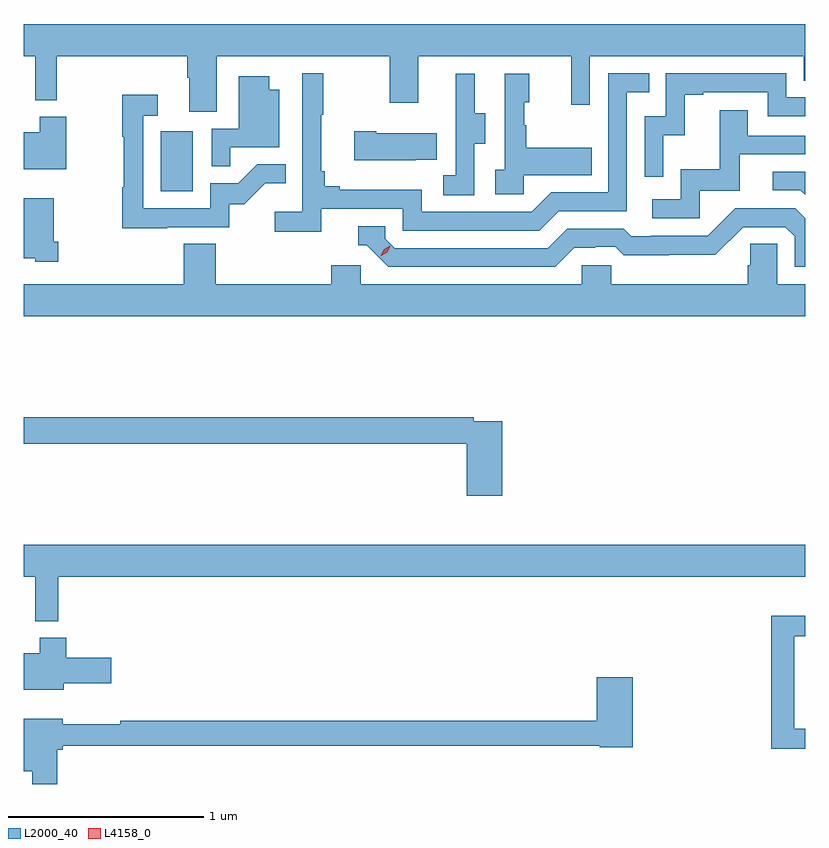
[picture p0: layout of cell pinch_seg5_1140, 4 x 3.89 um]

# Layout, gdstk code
import gdstk
lib = gdstk.Library(unit=1e-6, precision=1e-09)
def R(c, l, rs):  # rectangles x0, y0, x1, y1
    for r in rs: c.add(gdstk.rectangle(r[:2], r[2:], *l))
def P(c, l, *ps):  # polygons
    for p in ps: c.add(gdstk.Polygon(p, *l))
L2000_40 = (2000, 40)
L4158_0 = (4158, 0)

pinch_seg5_1140 = lib.new_cell('pinch_seg5_1140')
R(pinch_seg5_1140, L2000_40, [(838.646,840.084,838.81,840.391)])
P(pinch_seg5_1140, L2000_40, [(838.933,840.776),(839.818,840.776),(839.818,840.537),(839.965,840.537),(839.965,840.776),(840.746,840.776),(840.746,840.528),(840.843,840.528),(840.843,840.776),(841.938,840.776),(841.938,840.649),(841.945,840.649),(841.945,840.94),(837.945,840.94),(837.945,840.776),(838.004,840.776),(838.004,840.551),(838.114,840.551),(838.114,840.776),(838.781,840.776),(838.781,840.664),(838.793,840.664),(838.793,840.49),(838.933,840.49)],
  [(839.468,839.994),(839.886,839.994),(839.886,839.883),(840.583,839.883),(840.682,839.982),(841.032,839.982),(841.032,840.591),(841.145,840.591),(841.145,840.687),(840.936,840.687),(840.936,840.078),(840.645,840.078),(840.546,839.979),(839.982,839.979),(839.982,840.091),(839.563,840.091),(839.563,840.11),(839.486,840.11),(839.486,840.187),(839.467,840.187),(839.467,840.475),(839.479,840.475),(839.479,840.688),(839.37,840.688),(839.37,839.98),(839.229,839.98),(839.229,839.878),(839.468,839.878)],
  [(841.218,840.371),(841.328,840.371),(841.328,840.579),(841.423,840.579),(841.423,840.591),(841.752,840.591),(841.752,840.468),(841.945,840.468),(841.945,840.564),(841.848,840.564),(841.848,840.687),(841.23,840.687),(841.23,840.468),(841.122,840.468),(841.122,840.159),(841.218,840.159)],
  [(840.504,840.167),(840.851,840.167),(840.851,840.307),(840.517,840.307),(840.517,840.422),(840.507,840.422),(840.507,840.54),(840.532,840.54),(840.532,840.685),(840.408,840.685),(840.408,840.194),(840.357,840.194),(840.357,840.069),(840.504,840.069)],
  [(840.252,840.328),(840.307,840.328),(840.307,840.483),(840.253,840.483),(840.253,840.685),(840.155,840.685),(840.155,840.471),(840.156,840.471),(840.156,840.167),(840.093,840.167),(840.093,840.064),(840.252,840.064)],
  [(839.003,840.309),(839.254,840.309),(839.254,840.604),(839.203,840.604),(839.203,840.673),(839.045,840.673),(839.045,840.405),(838.908,840.405),(838.908,840.211),(839.003,840.211)],
  [(838.679,839.901),(838.998,839.901),(838.998,840.018),(839.074,840.018),(839.181,840.125),(839.285,840.125),(839.285,840.223),(839.141,840.223),(839.044,840.126),(838.899,840.126),(838.899,839.997),(838.557,839.997),(838.557,840.471),(838.63,840.471),(838.63,840.577),(838.449,840.577),(838.449,840.364),(838.456,840.364),(838.456,840.104),(838.449,840.104),(838.449,839.896),(838.679,839.896)],
  [(841.404,840.087),(841.609,840.087),(841.609,840.273),(841.945,840.273),(841.945,840.369),(841.651,840.369),(841.651,840.499),(841.507,840.499),(841.507,840.196),(841.308,840.196),(841.308,840.042),(841.161,840.042),(841.161,839.946),(841.404,839.946)],
  [(838.162,840.466),(838.028,840.466),(838.028,840.385),(837.945,840.385),(837.945,840.197),(838.162,840.197)],
  [(839.951,840.245),(840.059,840.245),(840.059,840.382),(839.749,840.382),(839.749,840.39),(839.637,840.39),(839.637,840.242),(839.951,840.242)],
  [(841.945,840.183),(841.779,840.183),(841.779,840.09),(841.92,840.09),(841.945,840.065)],
  [(838.121,839.827),(838.099,839.827),(838.099,840.049),(837.945,840.049),(837.945,839.741),(838.005,839.741),(838.005,839.723),(838.121,839.723)],
  [(840.763,839.796),(840.87,839.796),(840.87,839.799),(840.973,839.799),(841.015,839.757),(841.248,839.757),(841.248,839.759),(841.484,839.759),(841.626,839.901),(841.842,839.901),(841.89,839.853),(841.89,839.697),(841.945,839.697),(841.945,839.945),(841.893,839.997),(841.587,839.997),(841.446,839.856),(841.153,839.856),(841.153,839.853),(841.054,839.853),(841.015,839.892),(840.726,839.892),(840.627,839.793),(839.844,839.793),(839.796,839.841),(839.796,839.904),(839.657,839.904),(839.657,839.808),(839.7,839.808),(839.811,839.697),(840.664,839.697)],
  [(841.945,839.608),(841.8,839.608),(841.8,839.816),(841.663,839.816),(841.663,839.706),(841.649,839.706),(841.649,839.608),(840.951,839.608),(840.951,839.706),(840.801,839.706),(840.801,839.608),(839.67,839.608),(839.67,839.706),(839.519,839.706),(839.519,839.608),(838.928,839.608),(838.928,839.816),(838.763,839.816),(838.763,839.608),(837.945,839.608),(837.945,839.444),(841.945,839.444)],
  [(840.395,838.908),(840.248,838.908),(840.248,838.928),(837.945,838.928),(837.945,838.792),(840.212,838.792),(840.212,838.527),(840.395,838.527)],
  [(838.121,838.112),(841.945,838.112),(841.945,838.276),(837.945,838.276),(837.945,838.112),(838.004,838.112),(838.004,837.884),(838.121,837.884)],
  [(841.945,837.333),(841.887,837.333),(841.887,837.807),(841.945,837.807),(841.945,837.913),(841.771,837.913),(841.771,837.232),(841.945,837.232)],
  [(838.15,837.566),(838.393,837.566),(838.393,837.696),(838.163,837.696),(838.163,837.799),(838.028,837.799),(838.028,837.721),(837.945,837.721),(837.945,837.533),(838.15,837.533)],
  [(838.118,837.227),(838.144,837.227),(838.144,837.246),(840.894,837.246),(840.894,837.238),(841.061,837.238),(841.061,837.598),(840.878,837.598),(840.878,837.374),(838.44,837.374),(838.44,837.356),(838.144,837.356),(838.144,837.385),(837.945,837.385),(837.945,837.116),(837.99,837.116),(837.99,837.051),(838.118,837.051)])
P(pinch_seg5_1140, L4158_0, [(839.773,839.754),(839.773,839.755),(839.79,839.787),(839.821,839.806),(839.821,839.806),(839.821,839.806),(839.805,839.773),(839.774,839.754)])

lib.write_gds('pinch_seg5_1140.gds')
